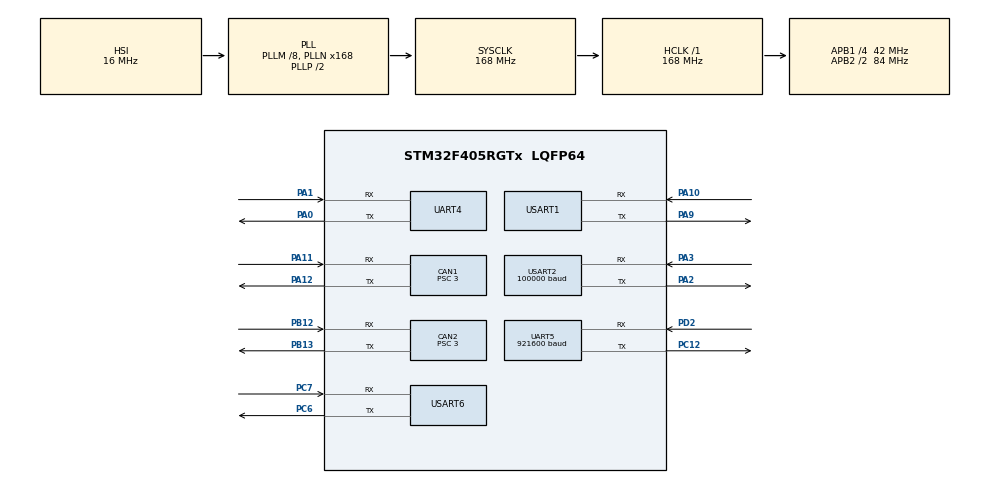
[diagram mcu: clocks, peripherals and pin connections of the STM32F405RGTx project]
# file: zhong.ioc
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CAN1.ABOM=ENABLE
CAN1.BS1=CAN_BS1_9TQ
CAN1.BS2=CAN_BS2_4TQ
CAN1.CalculateBaudRate=1000000
CAN1.CalculateTimeBit=1000
CAN1.CalculateTimeQuantum=71.42857142857143
CAN1.Prescaler=3
CAN1.TXFP=ENABLE
CAN2.ABOM=ENABLE
CAN2.BS1=CAN_BS1_9TQ
CAN2.BS2=CAN_BS2_4TQ
CAN2.CalculateBaudRate=1000000
CAN2.CalculateTimeBit=1000
CAN2.CalculateTimeQuantum=71.42857142857143
CAN2.Prescaler=3
CAN2.TXFP=ENABLE
Dma.Request0=USART1_RX
Dma.Request1=USART2_RX
Dma.Request2=UART4_RX
Dma.Request3=UART4_TX
Dma.UART4_RX.2.Direction=DMA_PERIPH_TO_MEMORY
Dma.UART4_RX.2.FIFOMode=DMA_FIFOMODE_DISABLE
Dma.UART4_RX.2.Instance=DMA1_Stream2
Dma.UART4_RX.2.MemDataAlignment=DMA_MDATAALIGN_BYTE
Dma.UART4_RX.2.MemInc=DMA_MINC_ENABLE
Dma.UART4_RX.2.Mode=DMA_CIRCULAR
Dma.UART4_RX.2.PeriphDataAlignment=DMA_PDATAALIGN_BYTE
Dma.UART4_RX.2.PeriphInc=DMA_PINC_DISABLE
Dma.UART4_RX.2.Priority=DMA_PRIORITY_HIGH
Dma.UART4_TX.3.Direction=DMA_MEMORY_TO_PERIPH
Dma.UART4_TX.3.FIFOMode=DMA_FIFOMODE_DISABLE
Dma.UART4_TX.3.Instance=DMA1_Stream4
Dma.UART4_TX.3.MemDataAlignment=DMA_MDATAALIGN_BYTE
Dma.UART4_TX.3.MemInc=DMA_MINC_ENABLE
Dma.UART4_TX.3.Mode=DMA_CIRCULAR
Dma.UART4_TX.3.PeriphDataAlignment=DMA_PDATAALIGN_BYTE
Dma.UART4_TX.3.PeriphInc=DMA_PINC_DISABLE
Dma.UART4_TX.3.Priority=DMA_PRIORITY_HIGH
Dma.USART1_RX.0.Direction=DMA_PERIPH_TO_MEMORY
Dma.USART1_RX.0.FIFOMode=DMA_FIFOMODE_DISABLE
Dma.USART1_RX.0.Instance=DMA2_Stream2
Dma.USART1_RX.0.MemDataAlignment=DMA_MDATAALIGN_BYTE
Dma.USART1_RX.0.MemInc=DMA_MINC_ENABLE
Dma.USART1_RX.0.Mode=DMA_CIRCULAR
Dma.USART1_RX.0.PeriphDataAlignment=DMA_PDATAALIGN_BYTE
Dma.USART1_RX.0.PeriphInc=DMA_PINC_DISABLE
Dma.USART1_RX.0.Priority=DMA_PRIORITY_MEDIUM
Dma.USART2_RX.1.Direction=DMA_PERIPH_TO_MEMORY
Dma.USART2_RX.1.FIFOMode=DMA_FIFOMODE_DISABLE
Dma.USART2_RX.1.Instance=DMA1_Stream5
Dma.USART2_RX.1.MemDataAlignment=DMA_MDATAALIGN_BYTE
Dma.USART2_RX.1.MemInc=DMA_MINC_ENABLE
Dma.USART2_RX.1.Mode=DMA_CIRCULAR
Dma.USART2_RX.1.PeriphDataAlignment=DMA_PDATAALIGN_BYTE
Dma.USART2_RX.1.PeriphInc=DMA_PINC_DISABLE
Dma.USART2_RX.1.Priority=DMA_PRIORITY_VERY_HIGH
FREERTOS.INCLUDE_vTaskDelayUntil=1
FREERTOS.Tasks01=defaultTask,0,128,StartDefaultTask,Default,NULL,Dynamic,NULL,NULL;SYSTEM,3,128,SYSTEM_TASK,Default,NULL,Dynamic,NULL,NULL;CHASSIS,2,256,CHASSIS_TASK,Default,NULL,Dynamic,NULL,NULL;GIMBAL,2,256,GIMBAL_TASK,Default,NULL,Dynamic,NULL,NULL;SHOOT,2,256,SHOOT_TASK,Default,NULL,Dynamic,NULL,NULL;VISION,3,256,VISION_TASK,Default,NULL,Dynamic,NULL,NULL;GUSUI,3,256,GUSUI_TASK,Default,NULL,Dynamic,NULL,NULL
IWDG.Prescaler=IWDG_PRESCALER_8
IWDG.Reload=2000
Mcu.Family=STM32F4
Mcu.Name=STM32F405RGTx
Mcu.Package=LQFP64
NVIC.CAN1_RX0_IRQn=true\:5\:0\:false\:false\:true\:true\:true\:true\:true
NVIC.CAN2_RX0_IRQn=true\:5\:0\:false\:false\:true\:true\:true\:true\:true
NVIC.DMA1_Stream2_IRQn=true\:5\:0\:false\:false\:true\:true\:false\:true\:true
NVIC.DMA1_Stream4_IRQn=true\:5\:0\:false\:false\:true\:true\:false\:true\:true
NVIC.DMA1_Stream5_IRQn=true\:5\:0\:false\:false\:true\:true\:false\:true\:true
NVIC.DMA2_Stream2_IRQn=true\:5\:0\:false\:false\:true\:true\:false\:true\:true
NVIC.PriorityGroup=NVIC_PRIORITYGROUP_4
NVIC.TIM2_IRQn=true\:5\:0\:false\:false\:true\:true\:true\:true\:true
NVIC.TIM8_TRG_COM_TIM14_IRQn=true\:15\:0\:false\:false\:true\:false\:false\:true\:true
NVIC.TimeBase=TIM8_TRG_COM_TIM14_IRQn
NVIC.TimeBaseIP=TIM14
NVIC.UART4_IRQn=true\:5\:0\:false\:false\:true\:true\:true\:true\:true
NVIC.UART5_IRQn=true\:5\:0\:false\:false\:true\:true\:true\:true\:true
NVIC.USART1_IRQn=true\:5\:0\:false\:false\:true\:true\:true\:true\:true
NVIC.USART2_IRQn=true\:5\:0\:false\:false\:true\:true\:true\:true\:true
NVIC.USART6_IRQn=true\:5\:0\:false\:false\:true\:true\:true\:true\:true
PA0-WKUP.Mode=Asynchronous
PA0-WKUP.Signal=UART4_TX
PA1.Mode=Asynchronous
PA1.Signal=UART4_RX
PA10.Mode=Asynchronous
PA10.Signal=USART1_RX
PA11.Mode=CAN_Activate
PA11.Signal=CAN1_RX
PA12.Mode=CAN_Activate
PA12.Signal=CAN1_TX
PA2.Mode=Asynchronous
PA2.Signal=USART2_TX
PA3.Mode=Asynchronous
PA3.Signal=USART2_RX
PA9.Mode=Asynchronous
PA9.Signal=USART1_TX
PB12.Mode=CAN_Activate
PB12.Signal=CAN2_RX
PB13.Mode=CAN_Activate
PB13.Signal=CAN2_TX
PC12.Mode=Asynchronous
PC12.Signal=UART5_TX
PC6.Mode=Asynchronous
PC6.Signal=USART6_TX
PC7.Mode=Asynchronous
PC7.Signal=USART6_RX
PD2.Mode=Asynchronous
PD2.Signal=UART5_RX
PH0-OSC_IN.Mode=HSE-External-Oscillator
PH0-OSC_IN.Signal=RCC_OSC_IN
PH1-OSC_OUT.Mode=HSE-External-Oscillator
PH1-OSC_OUT.Signal=RCC_OSC_OUT
ProjectManager.HeapSize=0x200
ProjectManager.StackSize=0x400
ProjectManager.TargetToolchain=MDK-ARM V5.32
RCC.48MHZClocksFreq_Value=84000000
RCC.AHBFreq_Value=168000000
RCC.APB1CLKDivider=RCC_HCLK_DIV4
RCC.APB1Freq_Value=42000000
RCC.APB1TimFreq_Value=84000000
RCC.APB2CLKDivider=RCC_HCLK_DIV2
RCC.APB2Freq_Value=84000000
RCC.APB2TimFreq_Value=168000000
RCC.CortexFreq_Value=168000000
RCC.HCLKFreq_Value=168000000
RCC.HSE_VALUE=25000000
RCC.HSI_VALUE=16000000
RCC.LSE_VALUE=32768
RCC.PLLM=8
RCC.PLLN=168
RCC.SYSCLKFreq_VALUE=168000000
RCC.SYSCLKSource=RCC_SYSCLKSOURCE_PLLCLK
RCC.VCOOutputFreq_Value=336000000
TIM2.Period=3000-1
TIM2.Prescaler=84-1
UART4.VirtualMode=Asynchronous
UART5.BaudRate=921600
UART5.VirtualMode=Asynchronous
USART1.VirtualMode=VM_ASYNC
USART2.BaudRate=100000
USART2.Parity=PARITY_EVEN
USART2.VirtualMode=VM_ASYNC
USART2.WordLength=WORDLENGTH_9B
USART6.VirtualMode=VM_ASYNC
VP_FREERTOS_VS_CMSIS_V1.Mode=CMSIS_V1
VP_IWDG_VS_IWDG.Mode=IWDG_Activate
VP_SYS_VS_tim14.Mode=TIM14
VP_TIM2_VS_ClockSourceINT.Mode=Internal
board=custom

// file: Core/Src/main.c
/* USER CODE BEGIN Header */
/**
  ******************************************************************************
  * @file           : main.c
  * @brief          : Main program body
  ******************************************************************************
  * @attention
  *
  * Copyright (c) 2023 STMicroelectronics.
  * All rights reserved.
  *
  * This software is licensed under terms that can be found in the LICENSE file
  * in the root directory of this software component.
  * If no LICENSE file comes with this software, it is provided AS-IS.
  *
  ******************************************************************************
  */
/* USER CODE END Header */
#include "main.h"
#include "cmsis_os.h"
#include "can.h"
#include "dma.h"
#include "iwdg.h"
#include "tim.h"
#include "usart.h"
#include "gpio.h"

/* USER CODE BEGIN Includes */
#include "driver.h"
#include "can_receive.h"
#include "packet.h"

#include "chassis_task.h"
#include "gimbal_task.h"
#include "shoot_task.h"
/* USER CODE END Includes */

void SystemClock_Config(void);
void MX_FREERTOS_Init(void);

int main(void)
{

  /* MCU Configuration--------------------------------------------------------*/

  /* Reset of all peripherals, Initializes the Flash interface and the Systick. */
  HAL_Init();

  /* Configure the system clock */
  SystemClock_Config();

  /* Initialize all configured peripherals */
  MX_GPIO_Init();
  MX_DMA_Init();
  MX_CAN1_Init();
  MX_CAN2_Init();
//  MX_IWDG_Init();
  MX_TIM2_Init();
  MX_USART1_UART_Init();
  MX_USART2_UART_Init();
  MX_UART4_Init();
  MX_UART5_Init();
  MX_USART6_UART_Init();
  /* USER CODE BEGIN 2 */
	chassis_pid_init();
	gimbal_pid_init();
	shoot_pid_init();

	Driver_Init();

	HAL_TIM_Base_Start_IT(&htim2);

  /* USER CODE END 2 */

  /* Call init function for freertos objects (in freertos.c) */
  MX_FREERTOS_Init();

  /* Start scheduler */
  osKernelStart();

  /* We should never get here as control is now taken by the scheduler */
  /* Infinite loop */
  while (1)
  {

  }
}

void SystemClock_Config(void)
{
  RCC_OscInitTypeDef RCC_OscInitStruct = {0};
  RCC_ClkInitTypeDef RCC_ClkInitStruct = {0};

  /** Configure the main internal regulator output voltage
  */
  __HAL_RCC_PWR_CLK_ENABLE();
  __HAL_PWR_VOLTAGESCALING_CONFIG(PWR_REGULATOR_VOLTAGE_SCALE1);

  /** Initializes the RCC Oscillators according to the specified parameters
  * in the RCC_OscInitTypeDef structure.
  */
  RCC_OscInitStruct.OscillatorType = RCC_OSCILLATORTYPE_HSI|RCC_OSCILLATORTYPE_LSI;
  RCC_OscInitStruct.HSIState = RCC_HSI_ON;
  RCC_OscInitStruct.HSICalibrationValue = RCC_HSICALIBRATION_DEFAULT;
  RCC_OscInitStruct.LSIState = RCC_LSI_ON;
  RCC_OscInitStruct.PLL.PLLState = RCC_PLL_ON;
  RCC_OscInitStruct.PLL.PLLSource = RCC_PLLSOURCE_HSI;
  RCC_OscInitStruct.PLL.PLLM = 8;
  RCC_OscInitStruct.PLL.PLLN = 168;
  RCC_OscInitStruct.PLL.PLLP = RCC_PLLP_DIV2;
  RCC_OscInitStruct.PLL.PLLQ = 4;
  if (HAL_RCC_OscConfig(&RCC_OscInitStruct) != HAL_OK)
  {
    Error_Handler();
  }

  /** Initializes the CPU, AHB and APB buses clocks
  */
  RCC_ClkInitStruct.ClockType = RCC_CLOCKTYPE_HCLK|RCC_CLOCKTYPE_SYSCLK
                              |RCC_CLOCKTYPE_PCLK1|RCC_CLOCKTYPE_PCLK2;
  RCC_ClkInitStruct.SYSCLKSource = RCC_SYSCLKSOURCE_PLLCLK;
  RCC_ClkInitStruct.AHBCLKDivider = RCC_SYSCLK_DIV1;
  RCC_ClkInitStruct.APB1CLKDivider = RCC_HCLK_DIV4;
  RCC_ClkInitStruct.APB2CLKDivider = RCC_HCLK_DIV2;

  if (HAL_RCC_ClockConfig(&RCC_ClkInitStruct, FLASH_LATENCY_5) != HAL_OK)
  {
    Error_Handler();
  }
}

void HAL_TIM_PeriodElapsedCallback(TIM_HandleTypeDef *htim)
{
  /* USER CODE BEGIN Callback 0 */
if (htim->Instance == TIM2) {
	imu_ctrl();
	CAN_cmd_capacitance(100);
  }
  /* USER CODE END Callback 0 */
  if (htim->Instance == TIM14) {
    HAL_IncTick();
  }
}

void Error_Handler(void)
{
  __disable_irq();
  while (1)
  {
  }
}

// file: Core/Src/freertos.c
/* USER CODE BEGIN Header */
/**
  ******************************************************************************
  * File Name          : freertos.c
  * Description        : Code for freertos applications
  ******************************************************************************
  * @attention
  *
  * Copyright (c) 2023 STMicroelectronics.
  * All rights reserved.
  *
  * This software is licensed under terms that can be found in the LICENSE file
  * in the root directory of this software component.
  * If no LICENSE file comes with this software, it is provided AS-IS.
  *
  ******************************************************************************
  */
/* USER CODE END Header */

#include "FreeRTOS.h"
#include "task.h"
#include "main.h"
#include "cmsis_os.h"

/* USER CODE BEGIN Includes */
#include "chassis_task.h"
#include "gimbal_task.h"
#include "shoot_task.h"
#include "visual_receive_task.h"
#include "referee_UI.h"
#include "vofa_task.h"

/* USER CODE END Includes */

osThreadId defaultTaskHandle;
osThreadId SYSTEMHandle;
osThreadId CHASSISHandle;
osThreadId GIMBALHandle;
osThreadId SHOOTHandle;
osThreadId VISIONHandle;
osThreadId GUSUIHandle;

void StartDefaultTask(void const * argument);
void SYSTEM_TASK(void const * argument);
void CHASSIS_TASK(void const * argument);
void GIMBAL_TASK(void const * argument);
void SHOOT_TASK(void const * argument);
void VISION_TASK(void const * argument);
void GUSUI_TASK(void const * argument);

void MX_FREERTOS_Init(void); /* (MISRA C 2004 rule 8.1) */

/* GetIdleTaskMemory prototype (linked to static allocation support) */
void vApplicationGetIdleTaskMemory( StaticTask_t **ppxIdleTaskTCBBuffer, StackType_t **ppxIdleTaskStackBuffer, uint32_t *pulIdleTaskStackSize );

/* USER CODE BEGIN GET_IDLE_TASK_MEMORY */
static StaticTask_t xIdleTaskTCBBuffer;
static StackType_t xIdleStack[configMINIMAL_STACK_SIZE];

void vApplicationGetIdleTaskMemory( StaticTask_t **ppxIdleTaskTCBBuffer, StackType_t **ppxIdleTaskStackBuffer, uint32_t *pulIdleTaskStackSize )
{
  *ppxIdleTaskTCBBuffer = &xIdleTaskTCBBuffer;
  *ppxIdleTaskStackBuffer = &xIdleStack[0];
  *pulIdleTaskStackSize = configMINIMAL_STACK_SIZE;
  /* place for user code */
}
/* USER CODE END GET_IDLE_TASK_MEMORY */

void MX_FREERTOS_Init(void) {

  /* Create the thread(s) */
  /* definition and creation of defaultTask */
  osThreadDef(defaultTask, StartDefaultTask, osPriorityNormal, 0, 128);
  defaultTaskHandle = osThreadCreate(osThread(defaultTask), NULL);

  /* definition and creation of SYSTEM */
  osThreadDef(SYSTEM, SYSTEM_TASK, osPriorityRealtime, 0, 128);
  SYSTEMHandle = osThreadCreate(osThread(SYSTEM), NULL);

  /* definition and creation of CHASSIS */
  osThreadDef(CHASSIS, CHASSIS_TASK, osPriorityHigh, 0, 256);
  CHASSISHandle = osThreadCreate(osThread(CHASSIS), NULL);

  /* definition and creation of GIMBAL */
  osThreadDef(GIMBAL, GIMBAL_TASK, osPriorityHigh, 0, 256);
  GIMBALHandle = osThreadCreate(osThread(GIMBAL), NULL);

  /* definition and creation of SHOOT */
  osThreadDef(SHOOT, SHOOT_TASK, osPriorityHigh, 0, 256);
  SHOOTHandle = osThreadCreate(osThread(SHOOT), NULL);

  /* definition and creation of VISION */
  osThreadDef(VISION, VISION_TASK, osPriorityRealtime, 0, 256);
  VISIONHandle = osThreadCreate(osThread(VISION), NULL);

  /* definition and creation of GUSUI */
  osThreadDef(GUSUI, GUSUI_TASK, osPriorityRealtime, 0, 256);
  GUSUIHandle = osThreadCreate(osThread(GUSUI), NULL);

}

void StartDefaultTask(void const * argument)
{
  for(;;)
  {
    osDelay(1);
  }
}

void SYSTEM_TASK(void const * argument)
{
  /* USER CODE BEGIN SYSTEM_TASK */
  /* Infinite loop */
  for(;;)
  {
    osDelay(4);
  }
  /* USER CODE END SYSTEM_TASK */
}

void CHASSIS_TASK(void const * argument)
{
  /* USER CODE BEGIN CHASSIS_TASK */
  /* Infinite loop */
  for(;;)
  {
		chassis_ctrl();
    osDelay(3);
  }
  /* USER CODE END CHASSIS_TASK */
}

void GIMBAL_TASK(void const * argument)
{
  /* USER CODE BEGIN GIMBAL_TASK */
  /* Infinite loop */
  for(;;)
  {
		gimbal_ctrl();
    osDelay(2);
  }
  /* USER CODE END GIMBAL_TASK */
}

void SHOOT_TASK(void const * argument)
{
  /* USER CODE BEGIN SHOOT_TASK */
  /* Infinite loop */
  for(;;)
  {
		shoot_ctrl();
    osDelay(2);
  }
  /* USER CODE END SHOOT_TASK */
}

void VISION_TASK(void const * argument)
{
  /* USER CODE BEGIN VISION_TASK */
  /* Infinite loop */
  for(;;)
  {
//		visual_send_date();
		vofa_send();
    osDelay(4);
  }
  /* USER CODE END VISION_TASK */
}

void GUSUI_TASK(void const * argument)
{
  /* USER CODE BEGIN GUSUI_TASK */
  /* Infinite loop */
  for(;;)
  {
		GUSIUI();
		vTaskSuspend(SYSTEMHandle);//№ТЖрИООс
    osDelay(4);
  }
  /* USER CODE END GUSUI_TASK */
}
